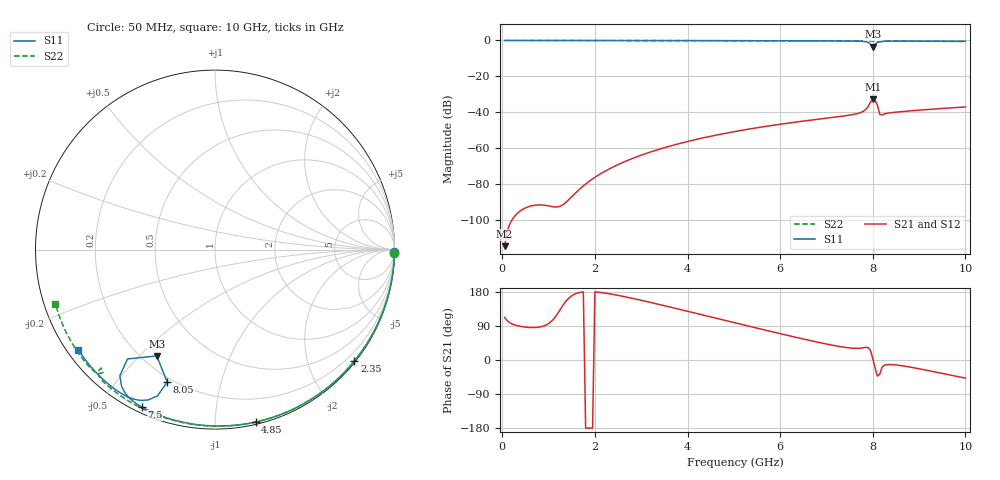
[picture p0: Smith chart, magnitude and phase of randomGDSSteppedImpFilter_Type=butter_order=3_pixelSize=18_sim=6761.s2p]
! freq	dB(S11)	phase(S11)	dB(S12)	phase(S12)
!  dB(S21)	phase(S21)	dB(S22)	phase(S22)
!S-par simulation data
#  GHz  S  DB  R 50
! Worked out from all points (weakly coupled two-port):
!   200 points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, 50 MHz to 10 GHz, reference 50 ohm
!   highest |S21| = -32.56 dB at 8 GHz (marker M1); lowest = -114.5 dB at 50 MHz (marker M2)
!   lowest |S11| = -3.4 dB at 8 GHz (marker M3), VSWR 5.16, Z = 12.9 - j28.1 ohm
!   |S11| at or under -10 dB: nowhere
!   |S22| runs from -0.8 to 0.0 dB; largest |S21 - S12| = 0
!   S11 on the Smith chart (normalised r, x): 50 MHz: open; 2.35 GHz: 0.03, -2.85; 4.85 GHz: 0.02, -1.26; 7.5 GHz: 0.02, -0.64; 8.05 GHz: 0.18, -0.69; 10 GHz: 0.03, -0.33
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0.05  -0.00 -0.8  -114.47 112.4  -114.47 112.4  -0.00 -0.9
0.85  -0.01 -14.2  -91.54 88.2  -91.54 88.2  -0.02 -15.7
1.75  -0.04 -29.0  -80.93 179.8  -80.93 179.8  -0.04 -32.0
1.8  -0.04 -29.8  -79.89 -179.8  -79.89 -179.8  -0.04 -32.9
2.35  -0.05 -38.7  -70.96 173.9  -70.96 173.9  -0.05 -42.6
2.85  -0.06 -46.6  -65.27 161.6  -65.27 161.6  -0.07 -51.3
3.4  -0.07 -55.1  -60.43 146.2  -60.43 146.2  -0.08 -60.6
4.85  -0.12 -76.8  -51.50 103.3  -51.50 103.3  -0.13 -84.3
5.05  -0.12 -79.7  -50.55 97.4  -50.55 97.4  -0.13 -87.4
6.7  -0.20 -102.9  -44.20 50.0  -44.20 50.0  -0.22 -112.6
7.5  -0.29 -115.0  -41.54 31.8  -41.54 31.8  -0.28 -124.5
7.75  -0.43 -120.5  -39.98 31.4  -39.98 31.4  -0.30 -128.3
7.9  -1.10 -127.0  -36.72 32.8  -36.72 32.8  -0.33 -130.8
7.95  -2.15 -128.7  -34.35 25.6  -34.35 25.6  -0.35 -131.7
8  -3.41 -118.7  -32.56 4.0  -32.56 4.0  -0.39 -132.7
8.05  -2.10 -109.8  -33.34 -21.0  -33.34 -21.0  -0.51 -133.9
8.1  -1.14 -111.5  -35.96 -42.4  -35.96 -42.4  -0.77 -133.9
8.15  -0.76 -113.9  -41.06 -37.8  -41.06 -37.8  -0.66 -132.3
8.2  -0.59 -116.0  -41.44 -19.3  -41.44 -19.3  -0.48 -133.1
8.35  -0.42 -120.1  -40.35 -11.9  -40.35 -11.9  -0.38 -136.0
9  -0.40 -130.5  -38.79 -23.1  -38.79 -23.1  -0.42 -146.0
10  -0.50 -143.9  -36.99 -47.9  -36.99 -47.9  -0.55 -161.3
